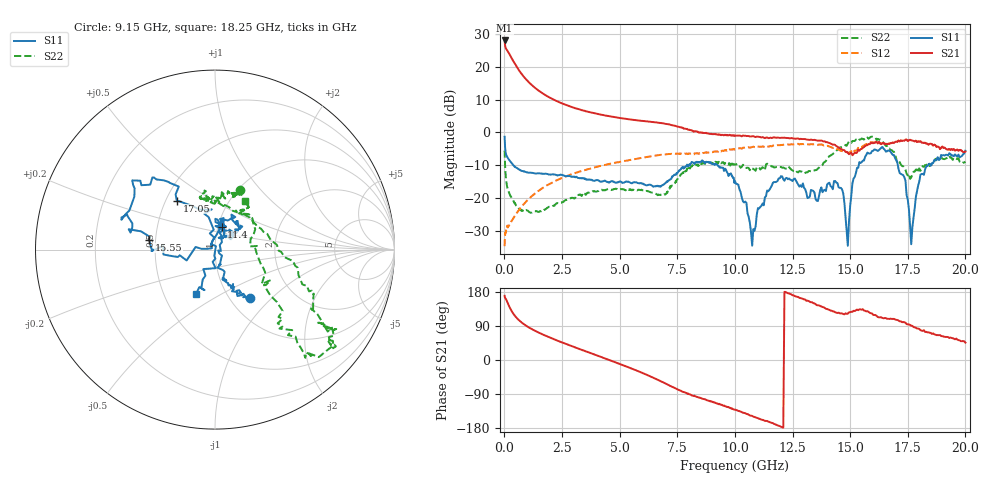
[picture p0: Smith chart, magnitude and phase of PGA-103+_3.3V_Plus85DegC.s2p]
!Mini-Circuits Laboratory
!S-Parameters, Port extension performed
!Model: PGA-103+
!Run / Lot / Date Code: N/A / BP170-001-01-101EV / 1210
!Fixture: TB-313
!Network Analyzer: PNA-X N5242A - 423 4 ports;  Serial number: 71013
!Date: 5/24/2012 at 5:33:58 PM
!S/N: Unit# 1
!Tested with: Vdd=3.3V at 85C
# Hz  S  dB  R  50
!Frequency  S11 dB  S11 Deg  S21 dB  S21 Deg  S12 dB  S12 Deg  S22 dB  S22 Deg
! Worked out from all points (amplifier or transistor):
!   660 points, 10 MHz to 20 GHz, reference 50 ohm
!   highest |S21| = 28.0 dB at 10 MHz (marker M1)
!   |S21| within 3 dB of that: start of sweep to 118.3 MHz
!   unconditionally stable (mu >= 1): 254.4 MHz to 15.21 GHz; 16.8 GHz to end of sweep
!   at 1.275 GHz: K = 1.10, MAG = 14.5 dB, |S12| = -18.9 dB
!   at 6.775 GHz: K = 1.06, MAG = 3.3 dB, |S12| = -6.8 dB
!   at 20 GHz: K = 1.49, MAG = -4.1 dB, |S12| = -5.8 dB
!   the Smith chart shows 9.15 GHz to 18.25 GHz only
!   S11 on the Smith chart (normalised r, x): 9.15 GHz: 1.23, -0.74; 11.4 GHz: 1.04, +0.27; 15.55 GHz: 0.46, +0.06; 17.05 GHz: 0.57, +0.35; 18.25 GHz: 0.72, -0.39
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1e7  -1.32 -16.5  28.02 169.4  -34.65 48.8  -5.50 -20.2
7e7  -6.57 -33.9  25.54 160.7  -29.91 25.0  -14.23 -42.9
2e8  -8.29 -57.8  24.09 142.6  -28.35 31.2  -18.33 -42.3
3.4e8  -9.60 -81.9  22.32 126.7  -26.70 39.6  -20.24 -46.8
5.2e8  -10.73 -106.4  20.14 112.0  -24.73 45.7  -22.32 -46.3
7.6e8  -11.73 -130.0  17.70 98.3  -22.48 49.9  -23.74 -51.0
1.125e9  -12.27 -151.9  14.84 83.7  -19.81 51.1  -24.44 -52.5
1.7e9  -12.60 -173.4  11.71 66.4  -16.76 47.6  -23.77 -66.2
3.35e9  -14.03 151.2  6.78 26.7  -11.76 25.4  -19.38 -89.3
6.675e9  -16.45 60.9  2.96 -52.9  -6.92 -41.3  -18.89 -179.6
9.15e9  -9.62 -54.4  -0.47 -113.2  -5.76 -101.0  -8.94 67.3
1.005e10  -15.67 -73.7  -0.99 -131.8  -5.03 -120.9  -9.77 75.6
1.075e10  -34.51 -14.1  -1.18 -147.5  -4.45 -137.6  -10.95 89.4
1.14e10  -17.68 73.4  -1.52 -161.0  -4.15 -152.1  -9.52 100.1
1.335e10  -17.64 50.4  -2.27 152.2  -3.62 159.2  -11.58 42.6
1.49e10  -34.51 156.1  -6.23 122.3  -6.12 133.0  -3.39 -32.3
1.555e10  -8.59 171.4  -4.66 134.1  -4.15 135.9  -1.97 -34.4
1.67e10  -5.57 130.3  -3.47 108.4  -3.41 108.5  -4.88 -48.8
1.705e10  -9.21 127.9  -2.84 105.5  -2.84 105.6  -9.48 -35.7
1.765e10  -34.06 74.6  -2.40 90.6  -2.42 90.3  -13.69 16.5
1.825e10  -11.31 -113.1  -3.12 74.1  -3.14 73.8  -9.96 58.3
2e10  -5.56 -154.5  -5.82 45.9  -5.83 45.6  -8.88 31.1
